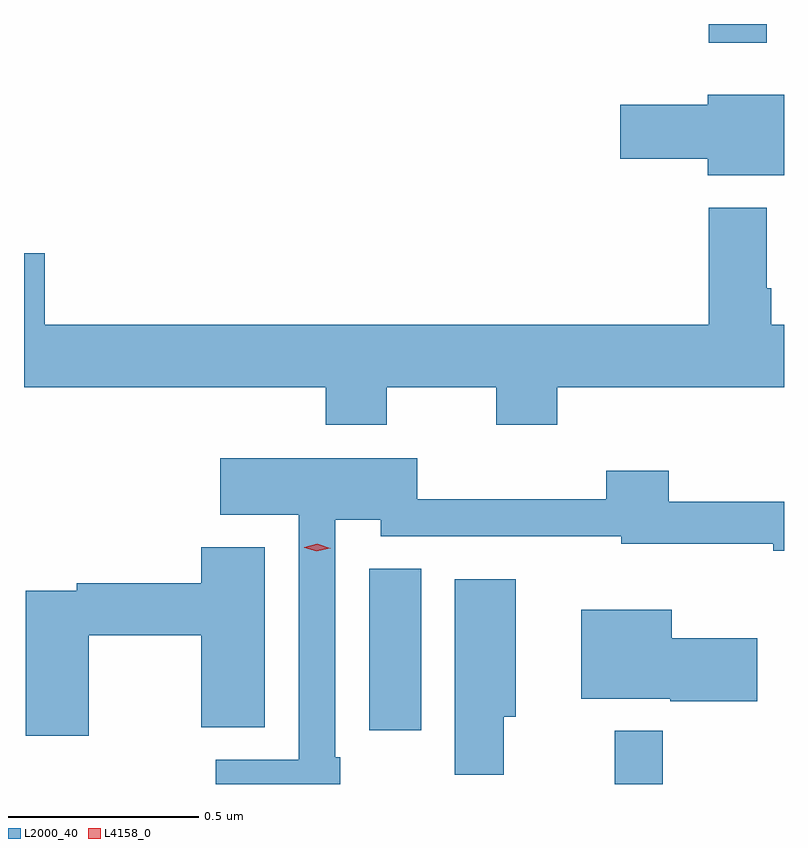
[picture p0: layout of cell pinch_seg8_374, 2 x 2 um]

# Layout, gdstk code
import gdstk
lib = gdstk.Library(unit=1e-6, precision=1e-09)
def R(c, l, rs):  # rectangles x0, y0, x1, y1
    for r in rs: c.add(gdstk.rectangle(r[:2], r[2:], *l))
def P(c, l, *ps):  # polygons
    for p in ps: c.add(gdstk.Polygon(p, *l))
L2000_40 = (2000, 40)
L4158_0 = (4158, 0)

pinch_seg8_374 = lib.new_cell('pinch_seg8_374')
R(pinch_seg8_374, L2000_40, [(490.347,1103.468,490.474,1103.608), (489.701,1103.61,489.838,1104.035), (490.595,1105.419,490.747,1105.468)])
P(pinch_seg8_374, L2000_40, [(490.793,1105.282),(490.592,1105.282),(490.592,1105.256),(490.362,1105.256),(490.362,1105.114),(490.592,1105.114),(490.592,1105.07),(490.793,1105.07)],
  [(490.793,1104.676),(490.76,1104.676),(490.76,1104.772),(490.747,1104.772),(490.747,1104.985),(490.595,1104.985),(490.595,1104.676),(488.848,1104.676),(488.848,1104.865),(488.793,1104.865),(488.793,1104.512),(489.587,1104.512),(489.587,1104.413),(489.747,1104.413),(489.747,1104.512),(490.036,1104.512),(490.036,1104.413),(490.196,1104.413),(490.196,1104.512),(490.793,1104.512)],
  [(489.625,1103.539),(489.612,1103.539),(489.612,1104.164),(489.732,1104.164),(489.732,1104.12),(490.365,1104.12),(490.365,1104.1),(490.765,1104.1),(490.765,1104.082),(490.793,1104.082),(490.793,1104.211),(490.49,1104.211),(490.49,1104.292),(490.325,1104.292),(490.325,1104.218),(489.828,1104.218),(489.828,1104.325),(489.309,1104.325),(489.309,1104.176),(489.516,1104.176),(489.516,1103.532),(489.297,1103.532),(489.297,1103.468),(489.625,1103.468)],
  [(488.964,1103.86),(489.26,1103.86),(489.26,1103.617),(489.427,1103.617),(489.427,1104.091),(489.26,1104.091),(489.26,1103.996),(488.932,1103.996),(488.932,1103.976),(488.798,1103.976),(488.798,1103.595),(488.964,1103.595)],
  [(490.056,1103.645),(490.087,1103.645),(490.087,1104.007),(489.926,1104.007),(489.926,1103.493),(490.056,1103.493)],
  [(490.723,1103.851),(490.498,1103.851),(490.498,1103.926),(490.259,1103.926),(490.259,1103.693),(490.494,1103.693),(490.494,1103.686),(490.723,1103.686)])
P(pinch_seg8_374, L4158_0, [(489.564,1104.08),(489.53,1104.09),(489.53,1104.09),(489.53,1104.091),(489.565,1104.1),(489.599,1104.089),(489.6,1104.089),(489.599,1104.089)])

lib.write_gds('pinch_seg8_374.gds')
